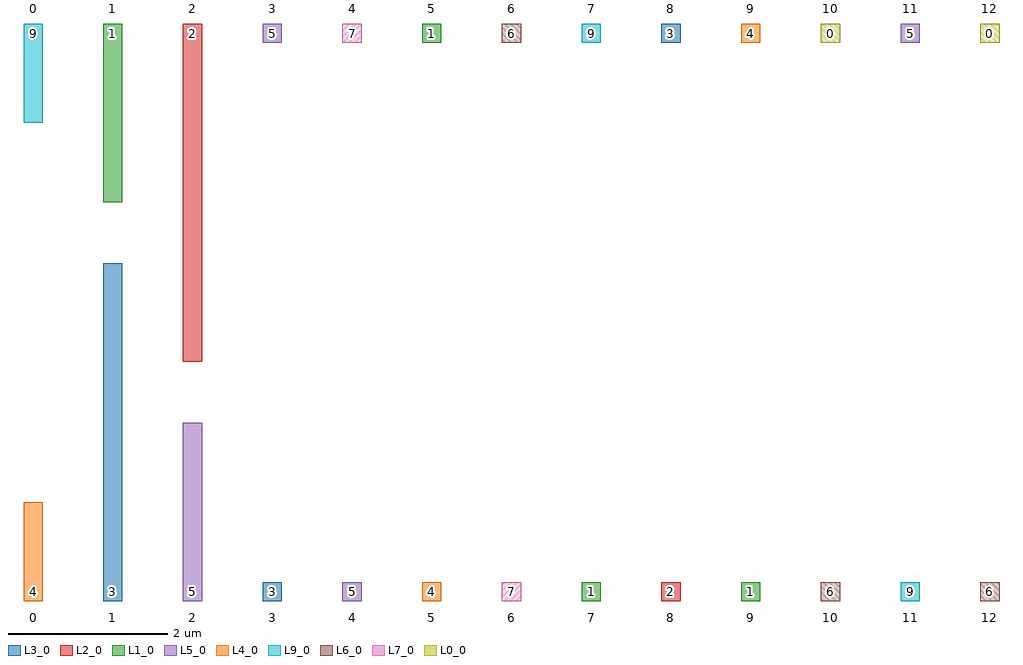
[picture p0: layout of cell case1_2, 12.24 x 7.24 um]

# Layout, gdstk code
import gdstk
lib = gdstk.Library(unit=1e-6, precision=1e-09)
def R(c, l, rs):  # rectangles x0, y0, x1, y1
    for r in rs: c.add(gdstk.rectangle(r[:2], r[2:], *l))
L0_0 = (0, 0)
L1_0 = (1, 0)
L2_0 = (2, 0)
L3_0 = (3, 0)
L4_0 = (4, 0)
L5_0 = (5, 0)
L6_0 = (6, 0)
L7_0 = (7, 0)
L9_0 = (9, 0)

case1_2 = lib.new_cell('case1_2')
R(case1_2, L0_0, [(9.88,6.88,10.12,7.12), (11.88,6.88,12.12,7.12)])
R(case1_2, L1_0, [(6.88,-0.12,7.12,0.12), (8.88,-0.12,9.12,0.12), (0.88,4.88,1.12,7.12), (0.88,6.88,1.12,7.12), (4.88,6.88,5.12,7.12)])
R(case1_2, L2_0, [(7.88,-0.12,8.12,0.12), (1.88,2.88,2.12,7.12), (1.88,6.88,2.12,7.12)])
R(case1_2, L3_0, [(0.88,-0.12,1.12,4.12), (0.88,-0.12,1.12,0.12), (2.88,-0.12,3.12,0.12), (7.88,6.88,8.12,7.12)])
R(case1_2, L4_0, [(-0.12,-0.12,0.12,1.12), (-0.12,-0.12,0.12,0.12), (4.88,-0.12,5.12,0.12), (8.88,6.88,9.12,7.12)])
R(case1_2, L5_0, [(1.88,-0.12,2.12,2.12), (1.88,-0.12,2.12,0.12), (3.88,-0.12,4.12,0.12), (2.88,6.88,3.12,7.12), (10.88,6.88,11.12,7.12)])
R(case1_2, L6_0, [(9.88,-0.12,10.12,0.12), (11.88,-0.12,12.12,0.12), (5.88,6.88,6.12,7.12)])
R(case1_2, L7_0, [(5.88,-0.12,6.12,0.12), (3.88,6.88,4.12,7.12)])
R(case1_2, L9_0, [(10.88,-0.12,11.12,0.12), (-0.12,5.88,0.12,7.12), (-0.12,6.88,0.12,7.12), (6.88,6.88,7.12,7.12)])
case1_2.add(gdstk.Label('0', (0,7.4), layer=215, texttype=1))
case1_2.add(gdstk.Label('9', (0,7), layer=215, texttype=1))
case1_2.add(gdstk.Label('1', (1,7.4), layer=215, texttype=1))
case1_2.add(gdstk.Label('1', (1,7), layer=215, texttype=1))
case1_2.add(gdstk.Label('2', (2,7.4), layer=215, texttype=1))
case1_2.add(gdstk.Label('2', (2,7), layer=215, texttype=1))
case1_2.add(gdstk.Label('3', (3,7.4), layer=215, texttype=1))
case1_2.add(gdstk.Label('5', (3,7), layer=215, texttype=1))
case1_2.add(gdstk.Label('4', (4,7.4), layer=215, texttype=1))
case1_2.add(gdstk.Label('7', (4,7), layer=215, texttype=1))
case1_2.add(gdstk.Label('5', (5,7.4), layer=215, texttype=1))
case1_2.add(gdstk.Label('1', (5,7), layer=215, texttype=1))
case1_2.add(gdstk.Label('6', (6,7.4), layer=215, texttype=1))
case1_2.add(gdstk.Label('6', (6,7), layer=215, texttype=1))
case1_2.add(gdstk.Label('7', (7,7.4), layer=215, texttype=1))
case1_2.add(gdstk.Label('9', (7,7), layer=215, texttype=1))
case1_2.add(gdstk.Label('8', (8,7.4), layer=215, texttype=1))
case1_2.add(gdstk.Label('3', (8,7), layer=215, texttype=1))
case1_2.add(gdstk.Label('9', (9,7.4), layer=215, texttype=1))
case1_2.add(gdstk.Label('4', (9,7), layer=215, texttype=1))
case1_2.add(gdstk.Label('10', (10,7.4), layer=215, texttype=1))
case1_2.add(gdstk.Label('0', (10,7), layer=215, texttype=1))
case1_2.add(gdstk.Label('11', (11,7.4), layer=215, texttype=1))
case1_2.add(gdstk.Label('5', (11,7), layer=215, texttype=1))
case1_2.add(gdstk.Label('12', (12,7.4), layer=215, texttype=1))
case1_2.add(gdstk.Label('0', (12,7), layer=215, texttype=1))
case1_2.add(gdstk.Label('0', (0,-0.4), layer=215, texttype=1))
case1_2.add(gdstk.Label('4', (0,0), layer=215, texttype=1))
case1_2.add(gdstk.Label('1', (1,-0.4), layer=215, texttype=1))
case1_2.add(gdstk.Label('3', (1,0), layer=215, texttype=1))
case1_2.add(gdstk.Label('2', (2,-0.4), layer=215, texttype=1))
case1_2.add(gdstk.Label('5', (2,0), layer=215, texttype=1))
case1_2.add(gdstk.Label('3', (3,-0.4), layer=215, texttype=1))
case1_2.add(gdstk.Label('3', (3,0), layer=215, texttype=1))
case1_2.add(gdstk.Label('4', (4,-0.4), layer=215, texttype=1))
case1_2.add(gdstk.Label('5', (4,0), layer=215, texttype=1))
case1_2.add(gdstk.Label('5', (5,-0.4), layer=215, texttype=1))
case1_2.add(gdstk.Label('4', (5,0), layer=215, texttype=1))
case1_2.add(gdstk.Label('6', (6,-0.4), layer=215, texttype=1))
case1_2.add(gdstk.Label('7', (6,0), layer=215, texttype=1))
case1_2.add(gdstk.Label('7', (7,-0.4), layer=215, texttype=1))
case1_2.add(gdstk.Label('1', (7,0), layer=215, texttype=1))
case1_2.add(gdstk.Label('8', (8,-0.4), layer=215, texttype=1))
case1_2.add(gdstk.Label('2', (8,0), layer=215, texttype=1))
case1_2.add(gdstk.Label('9', (9,-0.4), layer=215, texttype=1))
case1_2.add(gdstk.Label('1', (9,0), layer=215, texttype=1))
case1_2.add(gdstk.Label('10', (10,-0.4), layer=215, texttype=1))
case1_2.add(gdstk.Label('6', (10,0), layer=215, texttype=1))
case1_2.add(gdstk.Label('11', (11,-0.4), layer=215, texttype=1))
case1_2.add(gdstk.Label('9', (11,0), layer=215, texttype=1))
case1_2.add(gdstk.Label('12', (12,-0.4), layer=215, texttype=1))
case1_2.add(gdstk.Label('6', (12,0), layer=215, texttype=1))

lib.write_gds('case1_2.gds')
